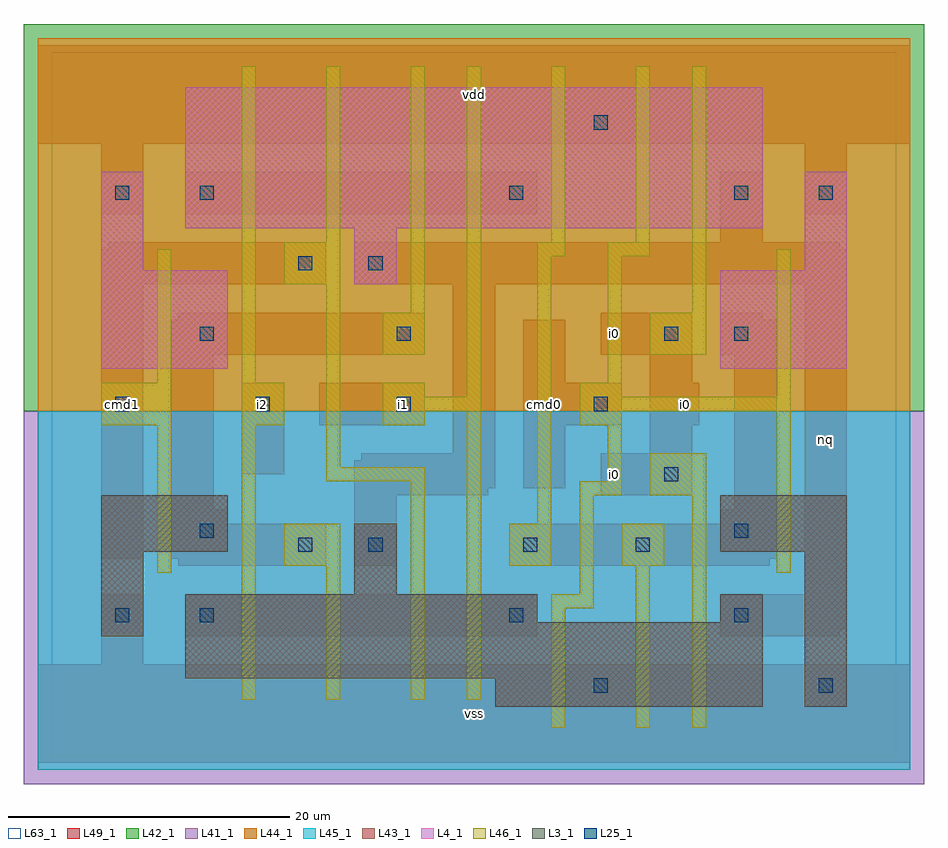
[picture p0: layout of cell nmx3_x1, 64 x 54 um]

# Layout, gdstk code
import gdstk
lib = gdstk.Library(unit=1e-6, precision=1e-09)
def R(c, l, rs):  # rectangles x0, y0, x1, y1
    for r in rs: c.add(gdstk.rectangle(r[:2], r[2:], *l))
def A(c, l, x, y, w, h, nx, ny, dx, dy):  # array of equal rectangles
    R(c, l, [(x+i*dx, y+j*dy, x+i*dx+w, y+j*dy+h) for i in range(nx) for j in range(ny)])
L3_1 = (3, 1)
L4_1 = (4, 1)
L25_1 = (25, 1)
L41_1 = (41, 1)
L42_1 = (42, 1)
L43_1 = (43, 1)
L44_1 = (44, 1)
L45_1 = (45, 1)
L46_1 = (46, 1)
L49_1 = (49, 1)
L63_1 = (63, 1)

nmx3_x1 = lib.new_cell('nmx3_x1')
R(nmx3_x1, L3_1, [(31.5,3.5,50.5,5.5), (53.5,3.5,56.5,14.5), (9.5,5.5,50.5,9.5), (3.5,8.5,6.5,14.5), (9.5,9.5,34.5,11.5), (47.5,9.5,50.5,11.5), (21.5,11.5,24.5,16.5), (3.5,14.5,12.5,18.5), (47.5,14.5,56.5,18.5)])
R(nmx3_x1, L4_1, [(3.5,27.5,12.5,34.5), (47.5,27.5,56.5,34.5), (21.5,33.5,24.5,37.5), (3.5,34.5,6.5,41.5), (53.5,34.5,56.5,41.5), (9.5,37.5,50.5,47.5)])
A(nmx3_x1, L25_1, 38.5, 4.5, 1, 1, 1, 3, 0, 20)
A(nmx3_x1, L25_1, 4.5, 24.5, 1, 1, 3, 1, 10, 0)
R(nmx3_x1, L25_1, [(54.5,4.5,55.5,5.5), (4.5,9.5,5.5,10.5), (10.5,9.5,11.5,10.5), (32.5,9.5,33.5,10.5), (48.5,9.5,49.5,10.5), (17.5,14.5,18.5,15.5), (22.5,14.5,23.5,15.5), (33.5,14.5,34.5,15.5), (41.5,14.5,42.5,15.5), (10.5,15.5,11.5,16.5), (48.5,15.5,49.5,16.5), (43.5,19.5,44.5,20.5), (10.5,29.5,11.5,30.5), (24.5,29.5,25.5,30.5), (43.5,29.5,44.5,30.5), (48.5,29.5,49.5,30.5), (17.5,34.5,18.5,35.5), (22.5,34.5,23.5,35.5), (4.5,39.5,5.5,40.5), (10.5,39.5,11.5,40.5), (32.5,39.5,33.5,40.5), (48.5,39.5,49.5,40.5), (54.5,39.5,55.5,40.5)])
R(nmx3_x1, L41_1, [(-2,-2,62,24.5)])
R(nmx3_x1, L42_1, [(-2,24.5,62,52)])
R(nmx3_x1, L43_1, [(31.5,3.5,50.5,5.5), (53.5,3.5,56.5,14.5), (9.5,5.5,50.5,9.5), (3.5,8.5,6.5,14.5), (9.5,9.5,34.5,11.5), (47.5,9.5,50.5,11.5), (21.5,11.5,24.5,16.5), (3.5,14.5,12.5,18.5), (47.5,14.5,56.5,18.5), (3.5,27.5,12.5,34.5), (47.5,27.5,56.5,34.5), (21.5,33.5,24.5,37.5), (3.5,34.5,6.5,41.5), (53.5,34.5,56.5,41.5), (9.5,37.5,50.5,47.5)])
R(nmx3_x1, L44_1, [(-1,24.5,61,51)])
R(nmx3_x1, L45_1, [(-1,-1,61,24.5)])
R(nmx3_x1, L46_1, [(35.5,2,36.5,10.5), (41.5,2,42.5,13.5), (45.5,2,46.5,18.5), (13.5,4,14.5,23.5), (19.5,4,20.5,13.5), (25.5,4,26.5,19.5), (29.5,4,30.5,24.5), (35.5,10.5,38.5,11.5), (37.5,11.5,38.5,18.5), (7.5,13,8.5,23.5), (51.5,13,52.5,24.5), (16.5,13.5,20.5,16.5), (32.5,13.5,35.5,16.5), (40.5,13.5,43.5,16.5), (34.5,16.5,35.5,35.5), (37.5,18.5,40.5,19.5), (42.5,18.5,46.5,21.5), (19.5,19.5,26.5,20.5), (39.5,19.5,40.5,23.5), (19.5,20.5,20.5,33.5), (3.5,23.5,8.5,26.5), (13.5,23.5,16.5,26.5), (23.5,23.5,26.5,24.5), (37.5,23.5,40.5,24.5), (23.5,24.5,30.5,25.5), (37.5,24.5,52.5,25.5), (23.5,25.5,26.5,26.5), (29.5,25.5,30.5,49), (37.5,25.5,40.5,26.5), (51.5,25.5,52.5,36), (7.5,26.5,8.5,36), (13.5,26.5,14.5,49), (39.5,26.5,40.5,35.5), (23.5,28.5,26.5,31.5), (42.5,28.5,46.5,31.5), (25.5,31.5,26.5,49), (45.5,31.5,46.5,49), (16.5,33.5,20.5,36.5), (34.5,35.5,36.5,36.5), (39.5,35.5,42.5,36.5), (19.5,36.5,20.5,49), (35.5,36.5,36.5,49), (41.5,36.5,42.5,49)])
R(nmx3_x1, L49_1, [(-1,-0.5,61,6.5), (3.5,6.5,6.5,11.5), (9.5,8.5,34.5,11.5), (47.5,8.5,56,9), (47.5,9,56.5,11.5), (53.5,11.5,56.5,33.5), (9,13.5,19.5,14), (21.5,13.5,24.5,18.5), (32.5,13.5,51,14), (3.5,14,6.5,33.5), (8.5,14,19.5,16.5), (32.5,14,51.5,16.5), (8.5,16.5,12.5,17.5), (47.5,16.5,51.5,17.5), (8.5,17.5,11.5,28.5), (48.5,17.5,51.5,28.5), (21.5,18.5,31,19), (39,18.5,45.5,21.5), (21.5,19,31.5,21), (33.5,19,36.5,23.5), (13.5,20,16.5,26.5), (22,21,31.5,21.5), (28.5,21.5,31.5,33.5), (42.5,21.5,45.5,23.5), (19,23.5,26.5,26.5), (33.5,23.5,40.5,26.5), (42.5,23.5,46,26.5), (33.5,26.5,36.5,31), (42.5,26.5,45.5,28.5), (8.5,28.5,26.5,31), (39,28.5,45.5,31.5), (47.5,28.5,51.5,31), (9,31,26.5,31.5), (47.5,31,50.5,31.5), (3.5,33.5,19.5,36), (21.5,33.5,56.5,36), (4,36,19.5,36.5), (21.5,36,56,36.5), (47.5,36.5,50.5,41.5), (3.5,38.5,6.5,43.5), (9.5,38.5,34.5,41.5), (53.5,38.5,56.5,43.5), (-1,43.5,61,50.5)])
R(nmx3_x1, L63_1, [(0,0,60,50)])
nmx3_x1.add(gdstk.Label('cmd1', (5,25), layer=49, texttype=1))
nmx3_x1.add(gdstk.Label('cmd1', (5,25), layer=49, texttype=1))
nmx3_x1.add(gdstk.Label('i2', (15,25), layer=49, texttype=1))
nmx3_x1.add(gdstk.Label('i2', (15,25), layer=49, texttype=1))
nmx3_x1.add(gdstk.Label('vss', (30,3), layer=49, texttype=1))
nmx3_x1.add(gdstk.Label('vss', (30,3), layer=49, texttype=1))
nmx3_x1.add(gdstk.Label('i1', (25,25), layer=49, texttype=1))
nmx3_x1.add(gdstk.Label('i1', (25,25), layer=49, texttype=1))
nmx3_x1.add(gdstk.Label('cmd0', (35,25), layer=49, texttype=1))
nmx3_x1.add(gdstk.Label('cmd0', (35,25), layer=49, texttype=1))
nmx3_x1.add(gdstk.Label('vdd', (30,47), layer=49, texttype=1))
nmx3_x1.add(gdstk.Label('vdd', (30,47), layer=49, texttype=1))
nmx3_x1.add(gdstk.Label('i0', (40,20), layer=49, texttype=1))
nmx3_x1.add(gdstk.Label('i0', (40,20), layer=49, texttype=1))
nmx3_x1.add(gdstk.Label('i0', (45,25), layer=49, texttype=1))
nmx3_x1.add(gdstk.Label('i0', (45,25), layer=49, texttype=1))
nmx3_x1.add(gdstk.Label('i0', (40,30), layer=49, texttype=1))
nmx3_x1.add(gdstk.Label('i0', (40,30), layer=49, texttype=1))
nmx3_x1.add(gdstk.Label('nq', (55,22.5), layer=49, texttype=1))
nmx3_x1.add(gdstk.Label('nq', (55,22.5), layer=49, texttype=1))

lib.write_gds('nmx3_x1.gds')
